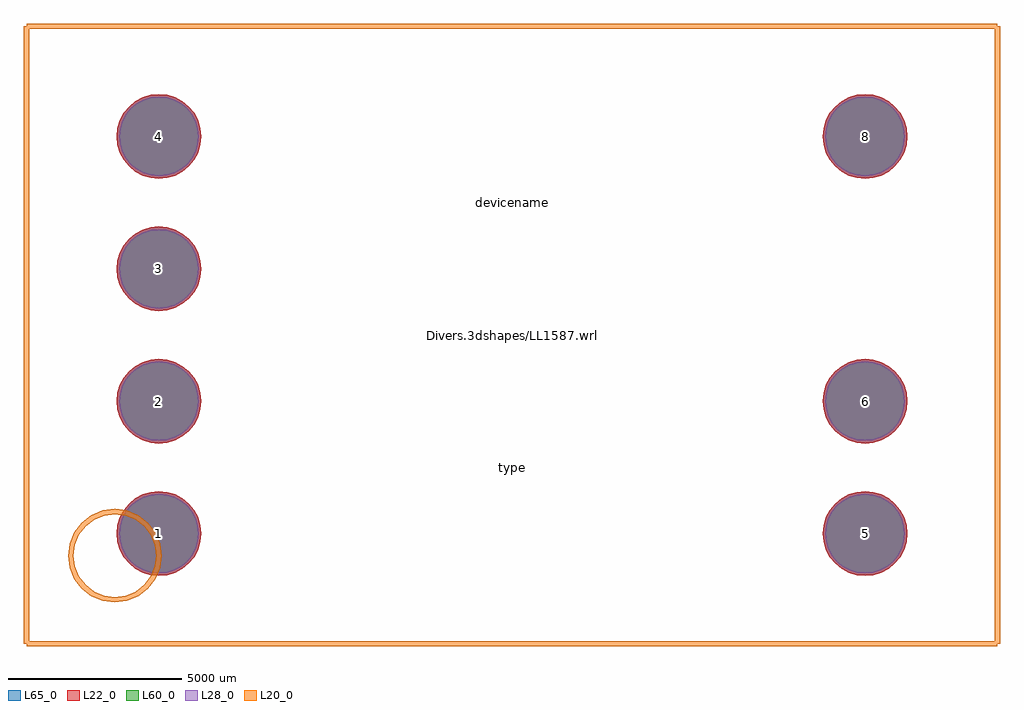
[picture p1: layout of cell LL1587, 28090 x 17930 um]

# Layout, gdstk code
import gdstk
lib = gdstk.Library(unit=1e-6, precision=1e-09)
def P(c, l, *ps):  # polygons
    for p in ps: c.add(gdstk.Polygon(p, *l))
L20_0 = (20, 0)
L22_0 = (22, 0)
L28_0 = (28, 0)
L60_0 = (60, 0)
L65_0 = (65, 0)

ll1587 = lib.new_cell('LL1587')
P(ll1587, L22_0, [(11378,5715),(11354.596,5952.62),(11285.285,6181.108),(11172.73,6391.685),(11021.256,6576.256),(10836.685,6727.73),(10626.108,6840.285),(10397.62,6909.596),(10160,6933),(9922.38,6909.596),(9693.892,6840.285),(9483.315,6727.73),(9298.744,6576.256),(9147.27,6391.685),(9034.715,6181.108),(8965.404,5952.62),(8942,5715),(8965.404,5477.38),(9034.715,5248.892),(9147.27,5038.315),(9298.744,4853.744),(9483.315,4702.27),(9693.892,4589.715),(9922.38,4520.404),(10160,4497),(10397.62,4520.404),(10626.108,4589.715),(10836.685,4702.27),(11021.256,4853.744),(11172.73,5038.315),(11285.285,5248.892),(11354.596,5477.38)],
  [(11378,-1905),(11354.596,-1667.38),(11285.285,-1438.892),(11172.73,-1228.315),(11021.256,-1043.744),(10836.685,-892.27),(10626.108,-779.715),(10397.62,-710.404),(10160,-687),(9922.38,-710.404),(9693.892,-779.715),(9483.315,-892.27),(9298.744,-1043.744),(9147.27,-1228.315),(9034.715,-1438.892),(8965.404,-1667.38),(8942,-1905),(8965.404,-2142.62),(9034.715,-2371.108),(9147.27,-2581.685),(9298.744,-2766.256),(9483.315,-2917.73),(9693.892,-3030.285),(9922.38,-3099.596),(10160,-3123),(10397.62,-3099.596),(10626.108,-3030.285),(10836.685,-2917.73),(11021.256,-2766.256),(11172.73,-2581.685),(11285.285,-2371.108),(11354.596,-2142.62)],
  [(11378,-5715),(11354.596,-5477.38),(11285.285,-5248.892),(11172.73,-5038.315),(11021.256,-4853.744),(10836.685,-4702.27),(10626.108,-4589.715),(10397.62,-4520.404),(10160,-4497),(9922.38,-4520.404),(9693.892,-4589.715),(9483.315,-4702.27),(9298.744,-4853.744),(9147.27,-5038.315),(9034.715,-5248.892),(8965.404,-5477.38),(8942,-5715),(8965.404,-5952.62),(9034.715,-6181.108),(9147.27,-6391.685),(9298.744,-6576.256),(9483.315,-6727.73),(9693.892,-6840.285),(9922.38,-6909.596),(10160,-6933),(10397.62,-6909.596),(10626.108,-6840.285),(10836.685,-6727.73),(11021.256,-6576.256),(11172.73,-6391.685),(11285.285,-6181.108),(11354.596,-5952.62)],
  [(-8942,5715),(-8965.404,5952.62),(-9034.715,6181.108),(-9147.27,6391.685),(-9298.744,6576.256),(-9483.315,6727.73),(-9693.892,6840.285),(-9922.38,6909.596),(-10160,6933),(-10397.62,6909.596),(-10626.108,6840.285),(-10836.685,6727.73),(-11021.256,6576.256),(-11172.73,6391.685),(-11285.285,6181.108),(-11354.596,5952.62),(-11378,5715),(-11354.596,5477.38),(-11285.285,5248.892),(-11172.73,5038.315),(-11021.256,4853.744),(-10836.685,4702.27),(-10626.108,4589.715),(-10397.62,4520.404),(-10160,4497),(-9922.38,4520.404),(-9693.892,4589.715),(-9483.315,4702.27),(-9298.744,4853.744),(-9147.27,5038.315),(-9034.715,5248.892),(-8965.404,5477.38)],
  [(-8942,1905),(-8965.404,2142.62),(-9034.715,2371.108),(-9147.27,2581.685),(-9298.744,2766.256),(-9483.315,2917.73),(-9693.892,3030.285),(-9922.38,3099.596),(-10160,3123),(-10397.62,3099.596),(-10626.108,3030.285),(-10836.685,2917.73),(-11021.256,2766.256),(-11172.73,2581.685),(-11285.285,2371.108),(-11354.596,2142.62),(-11378,1905),(-11354.596,1667.38),(-11285.285,1438.892),(-11172.73,1228.315),(-11021.256,1043.744),(-10836.685,892.27),(-10626.108,779.715),(-10397.62,710.404),(-10160,687),(-9922.38,710.404),(-9693.892,779.715),(-9483.315,892.27),(-9298.744,1043.744),(-9147.27,1228.315),(-9034.715,1438.892),(-8965.404,1667.38)],
  [(-8942,-1905),(-8965.404,-1667.38),(-9034.715,-1438.892),(-9147.27,-1228.315),(-9298.744,-1043.744),(-9483.315,-892.27),(-9693.892,-779.715),(-9922.38,-710.404),(-10160,-687),(-10397.62,-710.404),(-10626.108,-779.715),(-10836.685,-892.27),(-11021.256,-1043.744),(-11172.73,-1228.315),(-11285.285,-1438.892),(-11354.596,-1667.38),(-11378,-1905),(-11354.596,-2142.62),(-11285.285,-2371.108),(-11172.73,-2581.685),(-11021.256,-2766.256),(-10836.685,-2917.73),(-10626.108,-3030.285),(-10397.62,-3099.596),(-10160,-3123),(-9922.38,-3099.596),(-9693.892,-3030.285),(-9483.315,-2917.73),(-9298.744,-2766.256),(-9147.27,-2581.685),(-9034.715,-2371.108),(-8965.404,-2142.62)],
  [(-8942,-5715),(-8965.404,-5477.38),(-9034.715,-5248.892),(-9147.27,-5038.315),(-9298.744,-4853.744),(-9483.315,-4702.27),(-9693.892,-4589.715),(-9922.38,-4520.404),(-10160,-4497),(-10397.62,-4520.404),(-10626.108,-4589.715),(-10836.685,-4702.27),(-11021.256,-4853.744),(-11172.73,-5038.315),(-11285.285,-5248.892),(-11354.596,-5477.38),(-11378,-5715),(-11354.596,-5952.62),(-11285.285,-6181.108),(-11172.73,-6391.685),(-11021.256,-6576.256),(-10836.685,-6727.73),(-10626.108,-6840.285),(-10397.62,-6909.596),(-10160,-6933),(-9922.38,-6909.596),(-9693.892,-6840.285),(-9483.315,-6727.73),(-9298.744,-6576.256),(-9147.27,-6391.685),(-9034.715,-6181.108),(-8965.404,-5952.62)])
P(ll1587, L28_0, [(11303,5715),(11281.038,5937.988),(11215.994,6152.407),(11110.37,6350.017),(10968.223,6523.223),(10795.017,6665.37),(10597.407,6770.994),(10382.988,6836.038),(10160,6858),(9937.012,6836.038),(9722.593,6770.994),(9524.983,6665.37),(9351.777,6523.223),(9209.63,6350.017),(9104.006,6152.407),(9038.962,5937.988),(9017,5715),(9038.962,5492.012),(9104.006,5277.593),(9209.63,5079.983),(9351.777,4906.777),(9524.983,4764.63),(9722.593,4659.006),(9937.012,4593.962),(10160,4572),(10382.988,4593.962),(10597.407,4659.006),(10795.017,4764.63),(10968.223,4906.777),(11110.37,5079.983),(11215.994,5277.593),(11281.038,5492.012)],
  [(11303,-1905),(11281.038,-1682.012),(11215.994,-1467.593),(11110.37,-1269.983),(10968.223,-1096.777),(10795.017,-954.63),(10597.407,-849.006),(10382.988,-783.962),(10160,-762),(9937.012,-783.962),(9722.593,-849.006),(9524.983,-954.63),(9351.777,-1096.777),(9209.63,-1269.983),(9104.006,-1467.593),(9038.962,-1682.012),(9017,-1905),(9038.962,-2127.988),(9104.006,-2342.407),(9209.63,-2540.017),(9351.777,-2713.223),(9524.983,-2855.37),(9722.593,-2960.994),(9937.012,-3026.038),(10160,-3048),(10382.988,-3026.038),(10597.407,-2960.994),(10795.017,-2855.37),(10968.223,-2713.223),(11110.37,-2540.017),(11215.994,-2342.407),(11281.038,-2127.988)],
  [(11303,-5715),(11281.038,-5492.012),(11215.994,-5277.593),(11110.37,-5079.983),(10968.223,-4906.777),(10795.017,-4764.63),(10597.407,-4659.006),(10382.988,-4593.962),(10160,-4572),(9937.012,-4593.962),(9722.593,-4659.006),(9524.983,-4764.63),(9351.777,-4906.777),(9209.63,-5079.983),(9104.006,-5277.593),(9038.962,-5492.012),(9017,-5715),(9038.962,-5937.988),(9104.006,-6152.407),(9209.63,-6350.017),(9351.777,-6523.223),(9524.983,-6665.37),(9722.593,-6770.994),(9937.012,-6836.038),(10160,-6858),(10382.988,-6836.038),(10597.407,-6770.994),(10795.017,-6665.37),(10968.223,-6523.223),(11110.37,-6350.017),(11215.994,-6152.407),(11281.038,-5937.988)],
  [(-9017,5715),(-9038.962,5937.988),(-9104.006,6152.407),(-9209.63,6350.017),(-9351.777,6523.223),(-9524.983,6665.37),(-9722.593,6770.994),(-9937.012,6836.038),(-10160,6858),(-10382.988,6836.038),(-10597.407,6770.994),(-10795.017,6665.37),(-10968.223,6523.223),(-11110.37,6350.017),(-11215.994,6152.407),(-11281.038,5937.988),(-11303,5715),(-11281.038,5492.012),(-11215.994,5277.593),(-11110.37,5079.983),(-10968.223,4906.777),(-10795.017,4764.63),(-10597.407,4659.006),(-10382.988,4593.962),(-10160,4572),(-9937.012,4593.962),(-9722.593,4659.006),(-9524.983,4764.63),(-9351.777,4906.777),(-9209.63,5079.983),(-9104.006,5277.593),(-9038.962,5492.012)],
  [(-9017,1905),(-9038.962,2127.988),(-9104.006,2342.407),(-9209.63,2540.017),(-9351.777,2713.223),(-9524.983,2855.37),(-9722.593,2960.994),(-9937.012,3026.038),(-10160,3048),(-10382.988,3026.038),(-10597.407,2960.994),(-10795.017,2855.37),(-10968.223,2713.223),(-11110.37,2540.017),(-11215.994,2342.407),(-11281.038,2127.988),(-11303,1905),(-11281.038,1682.012),(-11215.994,1467.593),(-11110.37,1269.983),(-10968.223,1096.777),(-10795.017,954.63),(-10597.407,849.006),(-10382.988,783.962),(-10160,762),(-9937.012,783.962),(-9722.593,849.006),(-9524.983,954.63),(-9351.777,1096.777),(-9209.63,1269.983),(-9104.006,1467.593),(-9038.962,1682.012)],
  [(-9017,-1905),(-9038.962,-1682.012),(-9104.006,-1467.593),(-9209.63,-1269.983),(-9351.777,-1096.777),(-9524.983,-954.63),(-9722.593,-849.006),(-9937.012,-783.962),(-10160,-762),(-10382.988,-783.962),(-10597.407,-849.006),(-10795.017,-954.63),(-10968.223,-1096.777),(-11110.37,-1269.983),(-11215.994,-1467.593),(-11281.038,-1682.012),(-11303,-1905),(-11281.038,-2127.988),(-11215.994,-2342.407),(-11110.37,-2540.017),(-10968.223,-2713.223),(-10795.017,-2855.37),(-10597.407,-2960.994),(-10382.988,-3026.038),(-10160,-3048),(-9937.012,-3026.038),(-9722.593,-2960.994),(-9524.983,-2855.37),(-9351.777,-2713.223),(-9209.63,-2540.017),(-9104.006,-2342.407),(-9038.962,-2127.988)],
  [(-9017,-5715),(-9038.962,-5492.012),(-9104.006,-5277.593),(-9209.63,-5079.983),(-9351.777,-4906.777),(-9524.983,-4764.63),(-9722.593,-4659.006),(-9937.012,-4593.962),(-10160,-4572),(-10382.988,-4593.962),(-10597.407,-4659.006),(-10795.017,-4764.63),(-10968.223,-4906.777),(-11110.37,-5079.983),(-11215.994,-5277.593),(-11281.038,-5492.012),(-11303,-5715),(-11281.038,-5937.988),(-11215.994,-6152.407),(-11110.37,-6350.017),(-10968.223,-6523.223),(-10795.017,-6665.37),(-10597.407,-6770.994),(-10382.988,-6836.038),(-10160,-6858),(-9937.012,-6836.038),(-9722.593,-6770.994),(-9524.983,-6665.37),(-9351.777,-6523.223),(-9209.63,-6350.017),(-9104.006,-6152.407),(-9038.962,-5937.988)])
P(ll1587, L60_0, [(11303,5715),(11281.038,5937.988),(11215.994,6152.407),(11110.37,6350.017),(10968.223,6523.223),(10795.017,6665.37),(10597.407,6770.994),(10382.988,6836.038),(10160,6858),(9937.012,6836.038),(9722.593,6770.994),(9524.983,6665.37),(9351.777,6523.223),(9209.63,6350.017),(9104.006,6152.407),(9038.962,5937.988),(9017,5715),(9038.962,5492.012),(9104.006,5277.593),(9209.63,5079.983),(9351.777,4906.777),(9524.983,4764.63),(9722.593,4659.006),(9937.012,4593.962),(10160,4572),(10382.988,4593.962),(10597.407,4659.006),(10795.017,4764.63),(10968.223,4906.777),(11110.37,5079.983),(11215.994,5277.593),(11281.038,5492.012)],
  [(11303,-1905),(11281.038,-1682.012),(11215.994,-1467.593),(11110.37,-1269.983),(10968.223,-1096.777),(10795.017,-954.63),(10597.407,-849.006),(10382.988,-783.962),(10160,-762),(9937.012,-783.962),(9722.593,-849.006),(9524.983,-954.63),(9351.777,-1096.777),(9209.63,-1269.983),(9104.006,-1467.593),(9038.962,-1682.012),(9017,-1905),(9038.962,-2127.988),(9104.006,-2342.407),(9209.63,-2540.017),(9351.777,-2713.223),(9524.983,-2855.37),(9722.593,-2960.994),(9937.012,-3026.038),(10160,-3048),(10382.988,-3026.038),(10597.407,-2960.994),(10795.017,-2855.37),(10968.223,-2713.223),(11110.37,-2540.017),(11215.994,-2342.407),(11281.038,-2127.988)],
  [(11303,-5715),(11281.038,-5492.012),(11215.994,-5277.593),(11110.37,-5079.983),(10968.223,-4906.777),(10795.017,-4764.63),(10597.407,-4659.006),(10382.988,-4593.962),(10160,-4572),(9937.012,-4593.962),(9722.593,-4659.006),(9524.983,-4764.63),(9351.777,-4906.777),(9209.63,-5079.983),(9104.006,-5277.593),(9038.962,-5492.012),(9017,-5715),(9038.962,-5937.988),(9104.006,-6152.407),(9209.63,-6350.017),(9351.777,-6523.223),(9524.983,-6665.37),(9722.593,-6770.994),(9937.012,-6836.038),(10160,-6858),(10382.988,-6836.038),(10597.407,-6770.994),(10795.017,-6665.37),(10968.223,-6523.223),(11110.37,-6350.017),(11215.994,-6152.407),(11281.038,-5937.988)],
  [(-9017,5715),(-9038.962,5937.988),(-9104.006,6152.407),(-9209.63,6350.017),(-9351.777,6523.223),(-9524.983,6665.37),(-9722.593,6770.994),(-9937.012,6836.038),(-10160,6858),(-10382.988,6836.038),(-10597.407,6770.994),(-10795.017,6665.37),(-10968.223,6523.223),(-11110.37,6350.017),(-11215.994,6152.407),(-11281.038,5937.988),(-11303,5715),(-11281.038,5492.012),(-11215.994,5277.593),(-11110.37,5079.983),(-10968.223,4906.777),(-10795.017,4764.63),(-10597.407,4659.006),(-10382.988,4593.962),(-10160,4572),(-9937.012,4593.962),(-9722.593,4659.006),(-9524.983,4764.63),(-9351.777,4906.777),(-9209.63,5079.983),(-9104.006,5277.593),(-9038.962,5492.012)],
  [(-9017,1905),(-9038.962,2127.988),(-9104.006,2342.407),(-9209.63,2540.017),(-9351.777,2713.223),(-9524.983,2855.37),(-9722.593,2960.994),(-9937.012,3026.038),(-10160,3048),(-10382.988,3026.038),(-10597.407,2960.994),(-10795.017,2855.37),(-10968.223,2713.223),(-11110.37,2540.017),(-11215.994,2342.407),(-11281.038,2127.988),(-11303,1905),(-11281.038,1682.012),(-11215.994,1467.593),(-11110.37,1269.983),(-10968.223,1096.777),(-10795.017,954.63),(-10597.407,849.006),(-10382.988,783.962),(-10160,762),(-9937.012,783.962),(-9722.593,849.006),(-9524.983,954.63),(-9351.777,1096.777),(-9209.63,1269.983),(-9104.006,1467.593),(-9038.962,1682.012)],
  [(-9017,-1905),(-9038.962,-1682.012),(-9104.006,-1467.593),(-9209.63,-1269.983),(-9351.777,-1096.777),(-9524.983,-954.63),(-9722.593,-849.006),(-9937.012,-783.962),(-10160,-762),(-10382.988,-783.962),(-10597.407,-849.006),(-10795.017,-954.63),(-10968.223,-1096.777),(-11110.37,-1269.983),(-11215.994,-1467.593),(-11281.038,-1682.012),(-11303,-1905),(-11281.038,-2127.988),(-11215.994,-2342.407),(-11110.37,-2540.017),(-10968.223,-2713.223),(-10795.017,-2855.37),(-10597.407,-2960.994),(-10382.988,-3026.038),(-10160,-3048),(-9937.012,-3026.038),(-9722.593,-2960.994),(-9524.983,-2855.37),(-9351.777,-2713.223),(-9209.63,-2540.017),(-9104.006,-2342.407),(-9038.962,-2127.988)],
  [(-9017,-5715),(-9038.962,-5492.012),(-9104.006,-5277.593),(-9209.63,-5079.983),(-9351.777,-4906.777),(-9524.983,-4764.63),(-9722.593,-4659.006),(-9937.012,-4593.962),(-10160,-4572),(-10382.988,-4593.962),(-10597.407,-4659.006),(-10795.017,-4764.63),(-10968.223,-4906.777),(-11110.37,-5079.983),(-11215.994,-5277.593),(-11281.038,-5492.012),(-11303,-5715),(-11281.038,-5937.988),(-11215.994,-6152.407),(-11110.37,-6350.017),(-10968.223,-6523.223),(-10795.017,-6665.37),(-10597.407,-6770.994),(-10382.988,-6836.038),(-10160,-6858),(-9937.012,-6836.038),(-9722.593,-6770.994),(-9524.983,-6665.37),(-9351.777,-6523.223),(-9209.63,-6350.017),(-9104.006,-6152.407),(-9038.962,-5937.988)])
P(ll1587, L65_0, [(11378,5715),(11354.596,5952.62),(11285.285,6181.108),(11172.73,6391.685),(11021.256,6576.256),(10836.685,6727.73),(10626.108,6840.285),(10397.62,6909.596),(10160,6933),(9922.38,6909.596),(9693.892,6840.285),(9483.315,6727.73),(9298.744,6576.256),(9147.27,6391.685),(9034.715,6181.108),(8965.404,5952.62),(8942,5715),(8965.404,5477.38),(9034.715,5248.892),(9147.27,5038.315),(9298.744,4853.744),(9483.315,4702.27),(9693.892,4589.715),(9922.38,4520.404),(10160,4497),(10397.62,4520.404),(10626.108,4589.715),(10836.685,4702.27),(11021.256,4853.744),(11172.73,5038.315),(11285.285,5248.892),(11354.596,5477.38)],
  [(11378,-1905),(11354.596,-1667.38),(11285.285,-1438.892),(11172.73,-1228.315),(11021.256,-1043.744),(10836.685,-892.27),(10626.108,-779.715),(10397.62,-710.404),(10160,-687),(9922.38,-710.404),(9693.892,-779.715),(9483.315,-892.27),(9298.744,-1043.744),(9147.27,-1228.315),(9034.715,-1438.892),(8965.404,-1667.38),(8942,-1905),(8965.404,-2142.62),(9034.715,-2371.108),(9147.27,-2581.685),(9298.744,-2766.256),(9483.315,-2917.73),(9693.892,-3030.285),(9922.38,-3099.596),(10160,-3123),(10397.62,-3099.596),(10626.108,-3030.285),(10836.685,-2917.73),(11021.256,-2766.256),(11172.73,-2581.685),(11285.285,-2371.108),(11354.596,-2142.62)],
  [(11378,-5715),(11354.596,-5477.38),(11285.285,-5248.892),(11172.73,-5038.315),(11021.256,-4853.744),(10836.685,-4702.27),(10626.108,-4589.715),(10397.62,-4520.404),(10160,-4497),(9922.38,-4520.404),(9693.892,-4589.715),(9483.315,-4702.27),(9298.744,-4853.744),(9147.27,-5038.315),(9034.715,-5248.892),(8965.404,-5477.38),(8942,-5715),(8965.404,-5952.62),(9034.715,-6181.108),(9147.27,-6391.685),(9298.744,-6576.256),(9483.315,-6727.73),(9693.892,-6840.285),(9922.38,-6909.596),(10160,-6933),(10397.62,-6909.596),(10626.108,-6840.285),(10836.685,-6727.73),(11021.256,-6576.256),(11172.73,-6391.685),(11285.285,-6181.108),(11354.596,-5952.62)],
  [(-8942,5715),(-8965.404,5952.62),(-9034.715,6181.108),(-9147.27,6391.685),(-9298.744,6576.256),(-9483.315,6727.73),(-9693.892,6840.285),(-9922.38,6909.596),(-10160,6933),(-10397.62,6909.596),(-10626.108,6840.285),(-10836.685,6727.73),(-11021.256,6576.256),(-11172.73,6391.685),(-11285.285,6181.108),(-11354.596,5952.62),(-11378,5715),(-11354.596,5477.38),(-11285.285,5248.892),(-11172.73,5038.315),(-11021.256,4853.744),(-10836.685,4702.27),(-10626.108,4589.715),(-10397.62,4520.404),(-10160,4497),(-9922.38,4520.404),(-9693.892,4589.715),(-9483.315,4702.27),(-9298.744,4853.744),(-9147.27,5038.315),(-9034.715,5248.892),(-8965.404,5477.38)],
  [(-8942,1905),(-8965.404,2142.62),(-9034.715,2371.108),(-9147.27,2581.685),(-9298.744,2766.256),(-9483.315,2917.73),(-9693.892,3030.285),(-9922.38,3099.596),(-10160,3123),(-10397.62,3099.596),(-10626.108,3030.285),(-10836.685,2917.73),(-11021.256,2766.256),(-11172.73,2581.685),(-11285.285,2371.108),(-11354.596,2142.62),(-11378,1905),(-11354.596,1667.38),(-11285.285,1438.892),(-11172.73,1228.315),(-11021.256,1043.744),(-10836.685,892.27),(-10626.108,779.715),(-10397.62,710.404),(-10160,687),(-9922.38,710.404),(-9693.892,779.715),(-9483.315,892.27),(-9298.744,1043.744),(-9147.27,1228.315),(-9034.715,1438.892),(-8965.404,1667.38)],
  [(-8942,-1905),(-8965.404,-1667.38),(-9034.715,-1438.892),(-9147.27,-1228.315),(-9298.744,-1043.744),(-9483.315,-892.27),(-9693.892,-779.715),(-9922.38,-710.404),(-10160,-687),(-10397.62,-710.404),(-10626.108,-779.715),(-10836.685,-892.27),(-11021.256,-1043.744),(-11172.73,-1228.315),(-11285.285,-1438.892),(-11354.596,-1667.38),(-11378,-1905),(-11354.596,-2142.62),(-11285.285,-2371.108),(-11172.73,-2581.685),(-11021.256,-2766.256),(-10836.685,-2917.73),(-10626.108,-3030.285),(-10397.62,-3099.596),(-10160,-3123),(-9922.38,-3099.596),(-9693.892,-3030.285),(-9483.315,-2917.73),(-9298.744,-2766.256),(-9147.27,-2581.685),(-9034.715,-2371.108),(-8965.404,-2142.62)],
  [(-8942,-5715),(-8965.404,-5477.38),(-9034.715,-5248.892),(-9147.27,-5038.315),(-9298.744,-4853.744),(-9483.315,-4702.27),(-9693.892,-4589.715),(-9922.38,-4520.404),(-10160,-4497),(-10397.62,-4520.404),(-10626.108,-4589.715),(-10836.685,-4702.27),(-11021.256,-4853.744),(-11172.73,-5038.315),(-11285.285,-5248.892),(-11354.596,-5477.38),(-11378,-5715),(-11354.596,-5952.62),(-11285.285,-6181.108),(-11172.73,-6391.685),(-11021.256,-6576.256),(-10836.685,-6727.73),(-10626.108,-6840.285),(-10397.62,-6909.596),(-10160,-6933),(-9922.38,-6909.596),(-9693.892,-6840.285),(-9483.315,-6727.73),(-9298.744,-6576.256),(-9147.27,-6391.685),(-9034.715,-6181.108),(-8965.404,-5952.62)])
ll1587.add(gdstk.FlexPath([(13970,-8890),(13970,0)], 149.998, ends="flush", simple_path=True, layer=20, datatype=0))  # L20_0
ll1587.add(gdstk.FlexPath([(-13970,-8890),(13970,-8890)], 149.998, ends="flush", simple_path=True, layer=20, datatype=0))  # L20_0
ll1587.add(gdstk.FlexPath([(-13970,8890),(-13970,-8890)], 149.998, ends="flush", simple_path=True, layer=20, datatype=0))  # L20_0
ll1587.add(gdstk.FlexPath([(13970,8890),(-13970,8890)], 149.998, ends="flush", simple_path=True, layer=20, datatype=0))  # L20_0
ll1587.add(gdstk.FlexPath([(13970,0),(13970,8890)], 149.998, ends="flush", simple_path=True, layer=20, datatype=0))  # L20_0
ll1587.add(gdstk.FlexPath([(-11430,-5080),(-11758.7,-5123.274),(-12065,-5250.148),(-12328.026,-5451.974),(-12529.852,-5715),(-12656.726,-6021.3),(-12700,-6350),(-12656.726,-6678.7),(-12529.852,-6985),(-12328.026,-7248.026),(-12065,-7449.852),(-11758.7,-7576.726),(-11430,-7620),(-11101.3,-7576.726),(-10795,-7449.852),(-10531.974,-7248.026),(-10330.148,-6985),(-10203.274,-6678.7),(-10160,-6350),(-10203.274,-6021.3),(-10330.148,-5715),(-10531.974,-5451.974),(-10795,-5250.148),(-11101.3,-5123.274),(-11430,-5080)], 149.998, ends="flush", simple_path=True, layer=20, datatype=0))  # L20_0
ll1587.add(gdstk.Label('Divers.3dshapes/LL1587.wrl', (0,0), layer=12, texttype=0))
ll1587.add(gdstk.Label('8', (10160,5715), layer=28, texttype=0))
ll1587.add(gdstk.Label('6', (10160,-1905), layer=28, texttype=0))
ll1587.add(gdstk.Label('5', (10160,-5715), layer=28, texttype=0))
ll1587.add(gdstk.Label('4', (-10160,5715), layer=28, texttype=0))
ll1587.add(gdstk.Label('3', (-10160,1905), layer=28, texttype=0))
ll1587.add(gdstk.Label('2', (-10160,-1905), layer=28, texttype=0))
ll1587.add(gdstk.Label('1', (-10160,-5715), layer=28, texttype=0))
ll1587.add(gdstk.Label('type', (0,-3810), layer=9, texttype=0))
ll1587.add(gdstk.Label('devicename', (0,3810), layer=9, texttype=0))

lib.write_gds('LL1587.gds')
